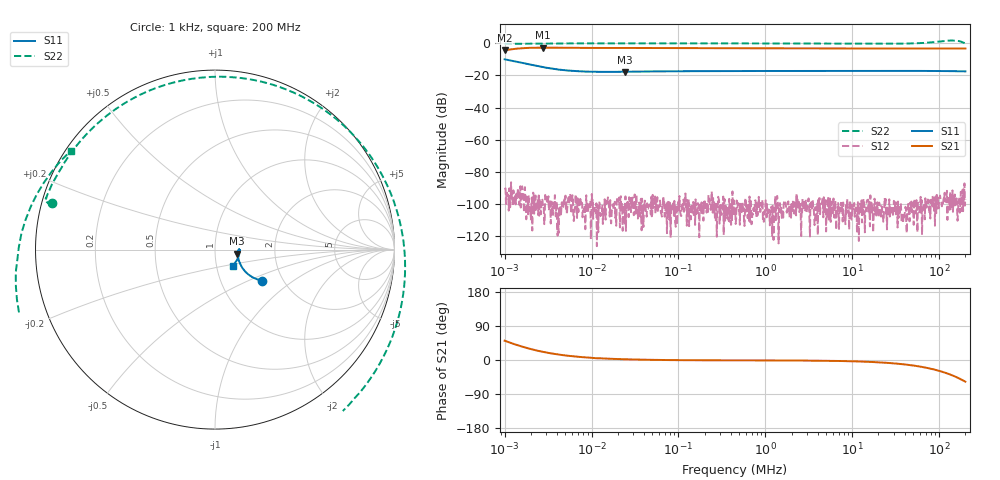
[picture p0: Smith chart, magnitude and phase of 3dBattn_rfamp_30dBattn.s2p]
! ListType=Log
# MHZ S RI R 50
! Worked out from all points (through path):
!   1000 points, 1 kHz to 200 MHz, reference 50 ohm
!   highest |S21| = -2.82 dB at 2.757 kHz (marker M1); lowest = -4.4 dB at 1 kHz (marker M2)
!   group delay of S21, straight-line fit = 939 ps
!   lowest |S11| = -18.0 dB at 23.97 kHz (marker M3), VSWR 1.29, Z = 64.1 - j2.96 ohm
!   |S11| at or under -10 dB: start of sweep to end of sweep
!   |S22| runs from -0.5 to 1.7 dB; largest |S21 - S12| = 0.72
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0.001  0.263 -0.1724  0.3807 0.4685  -1.15e-05 -2.99e-05  -0.9089 0.26
0.0027569  0.1507 -0.0985  0.6723 0.2647  -8.8e-06 -3.3e-06  -0.9327 0.2613
0.0076941  0.1278 -0.0353  0.7041 0.0952  -2.1e-06 8.4e-06  -0.9422 0.2759
0.0239689  0.1243 -0.0227  0.712 0.03  -3.4e-06 -2.8e-06  -0.9432 0.2849
0.0584804  0.1327 -0.000458  0.7043 0.00185  1.1e-06 -7.5e-06  -0.9406 0.2882
0.4499541  0.1358 0.00127  0.6938 -0.0116  1.8e-06 7.1e-06  -0.9349 0.303
3.419952  0.1372 -0.000654  0.6858 -0.0195  -1.8e-06 -7.2e-06  -0.8867 0.4028
12.03851  0.1376 -0.00548  0.6812 -0.0467  -7.5e-06 -3e-07  -0.7122 0.6466
18.46267  0.1375 -0.00895  0.6788 -0.0675  1.7e-06 -4.3e-06  -0.5466 0.7874
26.31347  0.1371 -0.0131  0.6754 -0.0931  3.6e-06 -3.5e-06  -0.3118 0.9064
38.43037  0.1362 -0.0193  0.6686 -0.1328  1.2e-06 -2.3e-06  0.0882 0.9611
50.9003  0.1349 -0.0255  0.6593 -0.1735  -1e-07 -2.3e-06  0.4925 0.8486
64.99008  0.1331 -0.0323  0.6461 -0.2189  6e-06 -3.9e-06  0.8567 0.5339
81.97236  0.1305 -0.0404  0.6259 -0.2726  5.3e-06 -7.1e-06  1.057 -0.0223
92.62555  0.1285 -0.0454  0.6107 -0.3054  -3.4e-06 -4.1e-06  1.016 -0.4025
103.3922  0.1265 -0.0503  0.5933 -0.3375  -9.6e-06 -1.12e-05  0.8402 -0.7545
116.8291  0.1234 -0.0563  0.5691 -0.3764  1.25e-05 -4.9e-06  0.4616 -1.075
128.8255  0.1204 -0.0615  0.545 -0.4097  -1.25e-05 -1.01e-05  0.0311 -1.195
145.5678  0.1159 -0.0685  0.5081 -0.4537  5.8e-06 -1.22e-05  -0.5687 -1.06
164.4859  0.1103 -0.0759  0.4623 -0.4989  4.6e-06 -3.3e-06  -1.028 -0.5582
179.1732  0.1051 -0.0823  0.4212 -0.534  -1.87e-05 -8.8e-06  -1.102 -0.0581
200  0.0983 -0.0891  0.3668 -0.5702  -1.29e-05 -6.6e-06  -0.8026 0.5506
